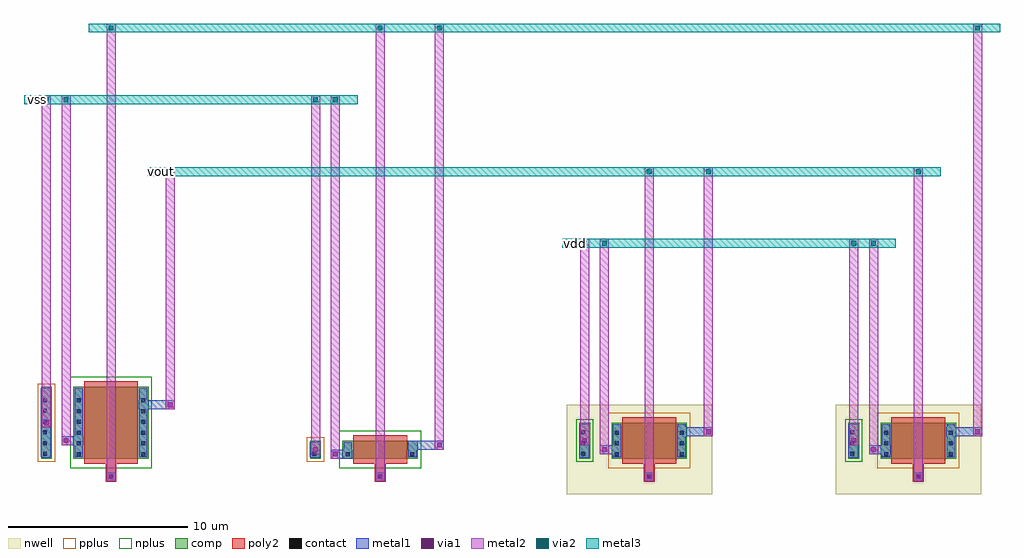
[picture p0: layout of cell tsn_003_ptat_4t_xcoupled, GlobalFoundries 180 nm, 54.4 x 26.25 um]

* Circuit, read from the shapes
.subckt tsn_003_ptat_4t_xcoupled vdd vout vss
XM1 vout n1 vss vss nfet_03v3 w=4u l=3u
XM2 n1 n1 vss vss nfet_03v3 w=1u l=3u
XM3 vout vout vdd vdd pfet_03v3 w=2u l=3u
XM4 n1 vout vdd vdd pfet_03v3 w=2u l=3u
.ends

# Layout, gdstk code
import gdstk
lib = gdstk.Library(unit=1e-6, precision=1e-09)
def R(c, l, rs):  # rectangles x0, y0, x1, y1
    for r in rs: c.add(gdstk.rectangle(r[:2], r[2:], *l))
def A(c, l, x, y, w, h, nx, ny, dx, dy):  # array of equal rectangles
    R(c, l, [(x+i*dx, y+j*dy, x+i*dx+w, y+j*dy+h) for i in range(nx) for j in range(ny)])
nwell = (21, 0)
comp = (22, 0)
poly2 = (30, 0)
pplus = (31, 0)
nplus = (32, 0)
contact = (33, 0)
metal1 = (34, 0)
via1 = (35, 0)
metal2 = (36, 0)
via2 = (38, 0)
metal3 = (42, 0)

tsn_003_ptat_4t_xcoupled = lib.new_cell('tsn_003_ptat_4t_xcoupled')
R(tsn_003_ptat_4t_xcoupled, nwell, [(27.5,-2,35.6,3), (42.5,-2,50.6,3)])
R(tsn_003_ptat_4t_xcoupled, comp, [(-1.8,0,-1.2,4), (0,0,4.2,4), (13.2,0,13.8,1), (15,0,19.2,1), (28.2,0,28.8,2), (30,0,34.2,2), (43.2,0,43.8,2), (45,0,49.2,2)])
A(tsn_003_ptat_4t_xcoupled, poly2, 1.8, -1.3, 0.6, 1.05, 4, 1, 15, 0)
R(tsn_003_ptat_4t_xcoupled, poly2, [(0.6,-0.3,3.6,4.3), (15.6,-0.3,18.6,1.3), (30.6,-0.3,33.6,2.3), (45.6,-0.3,48.6,2.3)])
R(tsn_003_ptat_4t_xcoupled, pplus, [(29.82,-0.55,34.38,2.55), (44.82,-0.55,49.38,2.55), (-1.98,-0.18,-1.02,4.18), (13.02,-0.18,13.98,1.18)])
R(tsn_003_ptat_4t_xcoupled, nplus, [(-0.18,-0.55,4.38,4.55), (14.82,-0.55,19.38,1.55), (28.02,-0.18,28.98,2.18), (43.02,-0.18,43.98,2.18)])
A(tsn_003_ptat_4t_xcoupled, contact, 1.99, -1.11, 0.22, 0.22, 4, 1, 15, 0)
A(tsn_003_ptat_4t_xcoupled, contact, 0.19, 0.14, 0.22, 0.22, 1, 6, 0, 0.6)
A(tsn_003_ptat_4t_xcoupled, contact, 3.79, 0.14, 0.22, 0.22, 1, 6, 0, 0.6)
A(tsn_003_ptat_4t_xcoupled, contact, 30.19, 0.14, 0.22, 0.22, 1, 3, 0, 0.6)
A(tsn_003_ptat_4t_xcoupled, contact, 33.79, 0.14, 0.22, 0.22, 1, 3, 0, 0.6)
A(tsn_003_ptat_4t_xcoupled, contact, 45.19, 0.14, 0.22, 0.22, 1, 3, 0, 0.6)
A(tsn_003_ptat_4t_xcoupled, contact, 48.79, 0.14, 0.22, 0.22, 1, 3, 0, 0.6)
A(tsn_003_ptat_4t_xcoupled, contact, -1.69, 0.15, 0.22, 0.22, 4, 1, 15, 0)
A(tsn_003_ptat_4t_xcoupled, contact, -1.69, 0.75, 0.22, 0.22, 1, 5, 0, 0.6)
R(tsn_003_ptat_4t_xcoupled, contact, [(15.19,0.14,15.41,0.36), (18.79,0.14,19.01,0.36), (28.31,0.75,28.53,0.97), (43.31,0.75,43.53,0.97), (28.31,1.35,28.53,1.57), (43.31,1.35,43.53,1.57)])
R(tsn_003_ptat_4t_xcoupled, metal1, [(1.85,-1.25,2.35,-0.75), (1.85,-1.25,2.35,-0.75), (16.85,-1.25,17.35,-0.75), (16.85,-1.25,17.35,-0.75), (31.85,-1.25,32.35,-0.75), (31.85,-1.25,32.35,-0.75), (46.85,-1.25,47.35,-0.75), (46.85,-1.25,47.35,-0.75), (14.35,0,14.85,0.5), (-1.75,0.05,-1.25,3.95), (13.25,0.05,13.75,0.95), (28.25,0.05,28.75,1.95), (43.25,0.05,43.75,1.95), (0.07,0.08,0.53,3.92), (3.67,0.08,4.13,3.92), (15.07,0.08,15.53,0.92), (18.67,0.08,19.13,0.92), (30.07,0.08,30.53,1.92), (33.67,0.08,34.13,1.92), (45.07,0.08,45.53,1.92), (48.67,0.08,49.13,1.92), (-1.81,0.09,-1.35,3.91), (13.19,0.09,13.65,0.91), (28.19,0.09,28.65,1.91), (43.19,0.09,43.65,1.91), (13.25,0.25,13.75,0.75), (29.35,0.25,29.85,0.75), (44.35,0.25,44.85,0.75), (20.15,0.5,20.65,1), (-0.65,0.75,-0.15,1.25), (28.25,0.75,28.75,1.25), (43.25,0.75,43.75,1.25), (35.15,1.25,35.65,1.75), (50.15,1.25,50.65,1.75), (-1.75,1.75,-1.25,2.25), (5.15,2.75,5.65,3.25)])
A(tsn_003_ptat_4t_xcoupled, via1, 1.97, -1.13, 0.26, 0.26, 4, 1, 15, 0)
R(tsn_003_ptat_4t_xcoupled, via1, [(14.47,0.12,14.73,0.38), (13.37,0.37,13.63,0.63), (29.47,0.37,29.73,0.63), (44.47,0.37,44.73,0.63), (20.27,0.62,20.53,0.88), (-0.53,0.87,-0.27,1.13), (28.37,0.87,28.63,1.13), (43.37,0.87,43.63,1.13), (35.27,1.37,35.53,1.63), (50.27,1.37,50.53,1.63), (-1.63,1.87,-1.37,2.13), (5.27,2.87,5.53,3.13)])
A(tsn_003_ptat_4t_xcoupled, metal2, 1.85, -1.25, 0.5, 0.5, 4, 1, 15, 0)
R(tsn_003_ptat_4t_xcoupled, metal2, [(14.35,0,14.85,0.5), (13.25,0.25,13.75,0.75), (29.35,0.25,29.85,0.75), (44.35,0.25,44.85,0.75), (20.15,0.5,20.65,1), (-0.65,0.75,-0.15,1.25), (28.25,0.75,28.75,1.25), (43.25,0.75,43.75,1.25), (35.15,1.25,35.65,1.75), (50.15,1.25,50.65,1.75), (-1.75,1.75,-1.25,2.25), (5.15,2.75,5.65,3.25), (28.25,11.75,28.75,12.25), (29.35,11.75,29.85,12.25), (43.25,11.75,43.75,12.25), (44.35,11.75,44.85,12.25), (5.15,15.75,5.65,16.25), (31.85,15.75,32.35,16.25), (35.15,15.75,35.65,16.25), (46.85,15.75,47.35,16.25), (-1.75,19.75,-1.25,20.25), (-0.65,19.75,-0.15,20.25), (13.25,19.75,13.75,20.25), (14.35,19.75,14.85,20.25), (1.85,23.75,2.35,24.25), (16.85,23.75,17.35,24.25), (20.15,23.75,20.65,24.25), (50.15,23.75,50.65,24.25)])
R(tsn_003_ptat_4t_xcoupled, via2, [(28.37,11.87,28.63,12.13), (29.47,11.87,29.73,12.13), (43.37,11.87,43.63,12.13), (44.47,11.87,44.73,12.13), (5.27,15.87,5.53,16.13), (31.97,15.87,32.23,16.13), (35.27,15.87,35.53,16.13), (46.97,15.87,47.23,16.13), (-1.63,19.87,-1.37,20.13), (-0.53,19.87,-0.27,20.13), (13.37,19.87,13.63,20.13), (14.47,19.87,14.73,20.13), (1.97,23.87,2.23,24.13), (16.97,23.87,17.23,24.13), (20.27,23.87,20.53,24.13), (50.27,23.87,50.53,24.13)])
R(tsn_003_ptat_4t_xcoupled, metal3, [(28.25,11.75,28.75,12.25), (29.35,11.75,29.85,12.25), (43.25,11.75,43.75,12.25), (44.35,11.75,44.85,12.25), (5.15,15.75,5.65,16.25), (31.85,15.75,32.35,16.25), (35.15,15.75,35.65,16.25), (46.85,15.75,47.35,16.25), (-1.75,19.75,-1.25,20.25), (-0.65,19.75,-0.15,20.25), (13.25,19.75,13.75,20.25), (14.35,19.75,14.85,20.25), (1.85,23.75,2.35,24.25), (16.85,23.75,17.35,24.25), (20.15,23.75,20.65,24.25), (50.15,23.75,50.65,24.25)])
tsn_003_ptat_4t_xcoupled.add(gdstk.FlexPath([(0.3,1),(-0.4,1)], 0.5, ends="extended", simple_path=True, layer=34, datatype=0))  # metal1
tsn_003_ptat_4t_xcoupled.add(gdstk.FlexPath([(3.9,3),(5.4,3)], 0.5, ends="extended", simple_path=True, layer=34, datatype=0))  # metal1
tsn_003_ptat_4t_xcoupled.add(gdstk.FlexPath([(15.3,0.25),(14.6,0.25)], 0.5, ends="extended", simple_path=True, layer=34, datatype=0))  # metal1
tsn_003_ptat_4t_xcoupled.add(gdstk.FlexPath([(18.9,0.75),(20.4,0.75)], 0.5, ends="extended", simple_path=True, layer=34, datatype=0))  # metal1
tsn_003_ptat_4t_xcoupled.add(gdstk.FlexPath([(30.3,0.5),(29.6,0.5)], 0.5, ends="extended", simple_path=True, layer=34, datatype=0))  # metal1
tsn_003_ptat_4t_xcoupled.add(gdstk.FlexPath([(33.9,1.5),(35.4,1.5)], 0.5, ends="extended", simple_path=True, layer=34, datatype=0))  # metal1
tsn_003_ptat_4t_xcoupled.add(gdstk.FlexPath([(45.3,0.5),(44.6,0.5)], 0.5, ends="extended", simple_path=True, layer=34, datatype=0))  # metal1
tsn_003_ptat_4t_xcoupled.add(gdstk.FlexPath([(48.9,1.5),(50.4,1.5)], 0.5, ends="extended", simple_path=True, layer=34, datatype=0))  # metal1
tsn_003_ptat_4t_xcoupled.add(gdstk.FlexPath([(27.5,12),(45.6,12)], 0.5, ends="extended", simple_path=True, layer=42, datatype=0))  # metal3
tsn_003_ptat_4t_xcoupled.add(gdstk.FlexPath([(4.4,16),(48.1,16)], 0.5, ends="extended", simple_path=True, layer=42, datatype=0))  # metal3
tsn_003_ptat_4t_xcoupled.add(gdstk.FlexPath([(-2.5,20),(15.6,20)], 0.5, ends="extended", simple_path=True, layer=42, datatype=0))  # metal3
tsn_003_ptat_4t_xcoupled.add(gdstk.FlexPath([(1.1,24),(51.4,24)], 0.5, ends="extended", simple_path=True, layer=42, datatype=0))  # metal3
tsn_003_ptat_4t_xcoupled.add(gdstk.FlexPath([(29.6,0.5),(29.6,12)], 0.5, ends="extended", simple_path=True, layer=36, datatype=0))  # metal2
tsn_003_ptat_4t_xcoupled.add(gdstk.FlexPath([(28.5,1),(28.5,12)], 0.5, ends="extended", simple_path=True, layer=36, datatype=0))  # metal2
tsn_003_ptat_4t_xcoupled.add(gdstk.FlexPath([(44.6,0.5),(44.6,12)], 0.5, ends="extended", simple_path=True, layer=36, datatype=0))  # metal2
tsn_003_ptat_4t_xcoupled.add(gdstk.FlexPath([(43.5,1),(43.5,12)], 0.5, ends="extended", simple_path=True, layer=36, datatype=0))  # metal2
tsn_003_ptat_4t_xcoupled.add(gdstk.FlexPath([(5.4,3),(5.4,16)], 0.5, ends="extended", simple_path=True, layer=36, datatype=0))  # metal2
tsn_003_ptat_4t_xcoupled.add(gdstk.FlexPath([(35.4,1.5),(35.4,16)], 0.5, ends="extended", simple_path=True, layer=36, datatype=0))  # metal2
tsn_003_ptat_4t_xcoupled.add(gdstk.FlexPath([(32.1,-1),(32.1,16)], 0.5, ends="extended", simple_path=True, layer=36, datatype=0))  # metal2
tsn_003_ptat_4t_xcoupled.add(gdstk.FlexPath([(47.1,-1),(47.1,16)], 0.5, ends="extended", simple_path=True, layer=36, datatype=0))  # metal2
tsn_003_ptat_4t_xcoupled.add(gdstk.FlexPath([(-0.4,1),(-0.4,20)], 0.5, ends="extended", simple_path=True, layer=36, datatype=0))  # metal2
tsn_003_ptat_4t_xcoupled.add(gdstk.FlexPath([(-1.5,2),(-1.5,20)], 0.5, ends="extended", simple_path=True, layer=36, datatype=0))  # metal2
tsn_003_ptat_4t_xcoupled.add(gdstk.FlexPath([(14.6,0.25),(14.6,20)], 0.5, ends="extended", simple_path=True, layer=36, datatype=0))  # metal2
tsn_003_ptat_4t_xcoupled.add(gdstk.FlexPath([(13.5,0.5),(13.5,20)], 0.5, ends="extended", simple_path=True, layer=36, datatype=0))  # metal2
tsn_003_ptat_4t_xcoupled.add(gdstk.FlexPath([(2.1,-1),(2.1,24)], 0.5, ends="extended", simple_path=True, layer=36, datatype=0))  # metal2
tsn_003_ptat_4t_xcoupled.add(gdstk.FlexPath([(20.4,0.75),(20.4,24)], 0.5, ends="extended", simple_path=True, layer=36, datatype=0))  # metal2
tsn_003_ptat_4t_xcoupled.add(gdstk.FlexPath([(17.1,-1),(17.1,24)], 0.5, ends="extended", simple_path=True, layer=36, datatype=0))  # metal2
tsn_003_ptat_4t_xcoupled.add(gdstk.FlexPath([(50.4,1.5),(50.4,24)], 0.5, ends="extended", simple_path=True, layer=36, datatype=0))  # metal2
tsn_003_ptat_4t_xcoupled.add(gdstk.Label('vdd', (28,12), layer=42, texttype=10))
tsn_003_ptat_4t_xcoupled.add(gdstk.Label('vout', (4.9,16), layer=42, texttype=10))
tsn_003_ptat_4t_xcoupled.add(gdstk.Label('vss', (-2,20), layer=42, texttype=10))

lib.write_gds('tsn_003_ptat_4t_xcoupled.gds')
